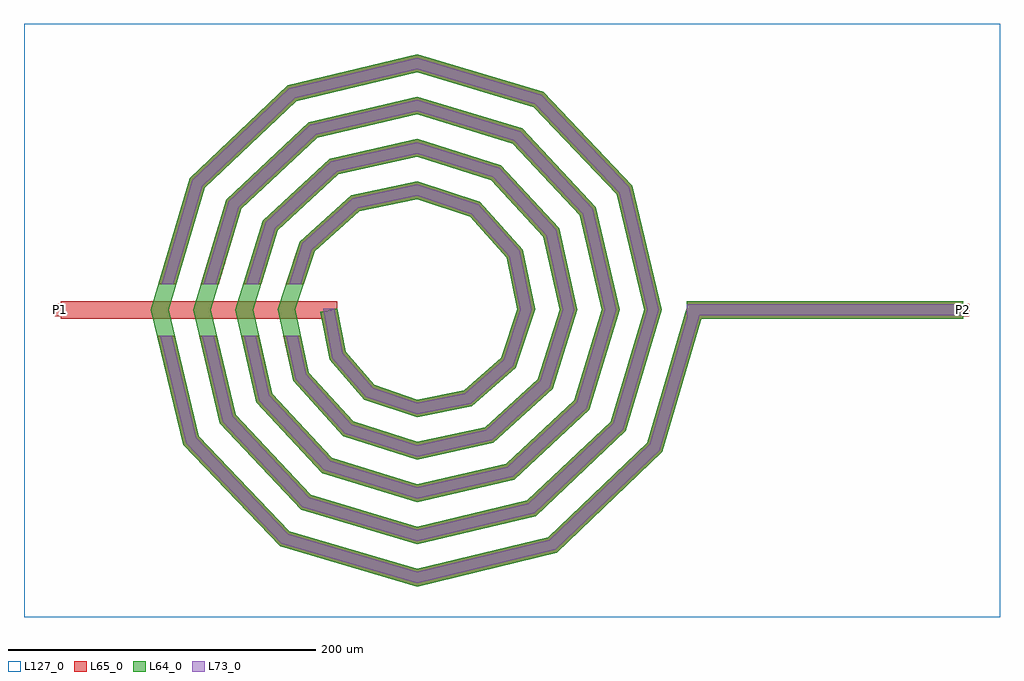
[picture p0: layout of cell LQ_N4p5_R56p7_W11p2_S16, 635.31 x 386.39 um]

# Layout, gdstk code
import gdstk
lib = gdstk.Library(unit=1e-6, precision=1e-09)
def R(c, l, rs):  # rectangles x0, y0, x1, y1
    for r in rs: c.add(gdstk.rectangle(r[:2], r[2:], *l))
def P(c, l, *ps):  # polygons
    for p in ps: c.add(gdstk.Polygon(p, *l))
L64_0 = (64, 0)
L65_0 = (65, 0)
L73_0 = (73, 0)
L127_0 = (127, 0)

lq_n4p5_r56p7_w11p2_s16 = lib.new_cell('LQ_N4p5_R56p7_W11p2_S16')
R(lq_n4p5_r56p7_w11p2_s16, L64_0, [(175.557,-5.6,355.557,5.6)])
P(lq_n4p5_r56p7_w11p2_s16, L64_0, [(-46.436,-27.289),(-27.729,-48.828),(0.386,-58.443),(30.69,-52.412),(54.763,-31.202),(65.319,0.348),(58.384,34.098),(34.668,60.701),(0.318,72.195),(-37.511,64.354),(-66.643,38.13),(-79.072,0.292),(-70.322,-40.929),(-41.589,-72.588),(0.27,-85.949),(44.349,-76.288),(78.534,-45.044),(92.827,0.251),(82.253,47.772),(48.498,84.481),(0.235,99.704),(-51.198,88.217),(-90.43,51.95),(-106.582,0.221),(-94.18,-54.624),(-55.4,-96.379),(0.208,-113.46),(58.053,-100.142),(102.33,-58.849),(120.337,0.197),(106.104,61.482),(62.297,108.281),(0.186,127.215),(-64.913,112.065),(-114.233,65.744),(-134.093,0.177),(-118.026,-68.344),(-69.19,-120.185),(0.169,-140.971),(71.776,-123.987),(126.137,-72.636),(147.849,0.161),(129.947,75.208),(76.081,132.09),(0.154,154.727),(-78.642,135.907),(-138.043,79.526),(-161.605,0.148),(-141.866,-82.075),(-82.97,-143.997),(0.142,-168.483),(85.509,-147.826),(149.951,-86.414),(175.784,1.578),(186.53,-1.578),(159.851,-92.45),(91.062,-158.005),(0.142,-180.075),(-89.016,-153.892),(-152.051,-87.618),(-173.197,0.148),(-147.932,85.582),(-84.174,146.098),(0.154,166.318),(82.148,141.972),(140.144,80.729),(159.44,0.161),(136.012,-78.716),(77.283,-134.191),(0.169,-152.562),(-75.283,-130.051),(-128.238,-73.837),(-145.683,0.177),(-124.09,71.851),(-70.39,122.286),(0.186,138.805),(68.42,118.128),(116.334,66.943),(131.927,0.197),(112.166,-64.99),(63.494,-110.383),(0.208,-125.048),(-61.561,-106.203),(-104.432,-60.044),(-118.17,0.221),(-100.24,58.134),(-56.593,98.482),(0.235,111.291),(54.707,94.275),(92.532,53.14),(104.413,0.251),(88.31,-51.283),(49.685,-86.584),(0.27,-97.534),(-47.86,-82.342),(-80.637,-46.228),(-90.655,0.292),(-76.373,44.441),(-42.767,74.692),(0.318,83.775),(41.025,70.402),(68.749,39.302),(76.896,0.348),(64.428,-37.613),(35.832,-62.808),(0.386,-70.016),(-34.207,-58.449),(-56.87,-32.355),(-62.852,-1.051),(-51.851,1.051)])
R(lq_n4p5_r56p7_w11p2_s16, L65_0, [(-231.751,-5.6,-51.751,5.6), (175.557,-5.6,355.557,5.6), (-235.751,-4,-227.751,4), (351.557,-4,359.557,4)])
P(lq_n4p5_r56p7_w11p2_s16, L65_0, [(-141.866,-82.075),(-82.97,-143.997),(0.142,-168.483),(85.509,-147.826),(149.951,-86.414),(175.784,1.578),(186.53,-1.578),(159.851,-92.45),(91.062,-158.005),(0.142,-180.075),(-89.016,-153.892),(-152.051,-87.618),(-169.113,-16.8),(-157.593,-16.8)],
  [(-118.026,-68.344),(-69.191,-120.185),(0.169,-140.971),(71.776,-123.987),(126.137,-72.636),(147.849,0.161),(129.947,75.208),(76.081,132.09),(0.155,154.727),(-78.642,135.907),(-138.043,79.526),(-156.593,16.8),(-168.272,16.8),(-147.932,85.582),(-84.174,146.098),(0.155,166.318),(82.149,141.972),(140.144,80.729),(159.44,0.161),(136.012,-78.716),(77.283,-134.191),(0.169,-152.562),(-75.283,-130.051),(-128.238,-73.837),(-141.682,-16.8),(-130.175,-16.8)],
  [(-94.18,-54.625),(-55.4,-96.38),(0.208,-113.46),(58.053,-100.142),(102.33,-58.849),(120.337,0.197),(106.104,61.482),(62.297,108.281),(0.186,127.215),(-64.913,112.065),(-114.233,65.744),(-128.978,16.8),(-140.676,16.8),(-124.09,71.851),(-70.39,122.286),(0.186,138.805),(68.42,118.128),(116.334,66.943),(131.927,0.197),(112.166,-64.99),(63.494,-110.383),(0.208,-125.048),(-61.561,-106.203),(-104.432,-60.044),(-114.29,-16.8),(-102.803,-16.8)],
  [(-70.322,-40.929),(-41.589,-72.588),(0.27,-85.949),(44.349,-76.288),(78.534,-45.044),(92.827,0.251),(82.253,47.772),(48.498,84.481),(0.235,99.704),(-51.198,88.217),(-90.43,51.95),(-101.312,16.8),(-113.037,16.8),(-100.24,58.134),(-56.593,98.482),(0.235,111.291),(54.707,94.275),(92.533,53.14),(104.413,0.251),(88.31,-51.283),(49.685,-86.584),(0.27,-97.534),(-47.86,-82.342),(-80.637,-46.228),(-86.974,-16.8),(-75.518,-16.8)],
  [(-27.729,-48.828),(0.386,-58.443),(30.69,-52.412),(54.763,-31.202),(65.319,0.348),(58.384,34.098),(34.668,60.702),(0.318,72.195),(-37.511,64.354),(-66.643,38.13),(-73.543,16.8),(-85.315,16.8),(-76.373,44.441),(-42.767,74.692),(0.318,83.776),(41.025,70.402),(68.749,39.302),(76.896,0.348),(64.428,-37.613),(35.832,-62.808),(0.386,-70.016),(-34.207,-58.449),(-56.87,-32.355),(-62.852,-1.051),(-51.851,1.051),(-46.436,-27.289)])
R(lq_n4p5_r56p7_w11p2_s16, L73_0, [(175.557,-3.6,355.557,3.6)])
P(lq_n4p5_r56p7_w11p2_s16, L73_0, [(-143.685,-83.065),(-84.05,-145.764),(0.092,-170.553),(86.501,-149.643),(151.719,-87.492),(177.703,1.014),(184.611,-1.014),(158.083,-91.372),(90.071,-156.187),(0.092,-178.005),(-87.936,-152.125),(-150.233,-86.628),(-167.056,-16.8),(-159.65,-16.8)],
  [(-119.85,-69.325),(-70.279,-121.947),(0.109,-143.041),(72.759,-125.809),(127.901,-73.722),(149.919,0.104),(131.768,76.194),(77.165,133.855),(0.099,156.797),(-79.63,137.726),(-139.809,80.607),(-158.678,16.8),(-166.187,16.8),(-146.166,84.501),(-83.186,144.278),(0.099,164.248),(81.065,140.207),(138.323,79.743),(157.37,0.104),(134.248,-77.63),(76.3,-132.369),(0.109,-150.492),(-74.195,-128.289),(-126.415,-72.856),(-139.627,-16.8),(-132.23,-16.8)],
  [(-96.011,-55.592),(-56.5,-98.134),(0.134,-115.529),(59.024,-101.971),(104.086,-59.946),(122.407,0.126),(107.931,62.457),(63.391,110.039),(0.12,129.285),(-65.891,113.891),(-115.993,66.835),(-131.067,16.8),(-138.587,16.8),(-122.33,70.761),(-69.412,120.461),(0.12,136.736),(67.327,116.37),(114.507,65.968),(129.857,0.126),(110.41,-63.894),(62.522,-108.554),(0.134,-122.979),(-60.461,-104.449),(-102.601,-59.076),(-112.239,-16.8),(-104.854,-16.8)],
  [(-72.164,-41.875),(-42.709,-74.33),(0.174,-88.018),(45.302,-78.127),(80.279,-46.158),(94.896,0.162),(84.089,48.731),(49.607,86.23),(0.151,101.773),(-52.161,90.05),(-92.182,53.054),(-103.406,16.8),(-110.943,16.8),(-98.488,57.029),(-55.629,96.649),(0.151,109.222),(53.598,92.526),(90.697,52.182),(102.344,0.162),(86.564,-50.169),(48.732,-84.746),(0.174,-95.465),(-46.74,-80.601),(-78.795,-45.281),(-84.928,-16.8),(-77.563,-16.8)],
  [(-28.886,-50.546),(0.248,-60.509),(31.608,-54.268),(56.489,-32.347),(67.386,0.224),(60.235,35.027),(35.803,62.434),(0.204,74.263),(-38.45,66.2),(-68.381,39.257),(-75.645,16.8),(-83.213,16.8),(-74.636,43.314),(-41.829,72.846),(0.204,81.708),(39.89,68.67),(66.898,38.373),(74.829,0.224),(62.702,-36.468),(34.914,-60.951),(0.248,-67.949),(-33.051,-56.731),(-55.007,-31.45),(-60.887,0.676),(-53.815,0.676),(-48.299,-28.194)])
R(lq_n4p5_r56p7_w11p2_s16, L127_0, [(-255.751,-200.075,379.557,186.318)])
lq_n4p5_r56p7_w11p2_s16.add(gdstk.Label('P2', (355.557,0), layer=65, texttype=0))
lq_n4p5_r56p7_w11p2_s16.add(gdstk.Label('P1', (-231.751,0), layer=65, texttype=0))
lq_n4p5_r56p7_w11p2_s16.add(gdstk.Label('P2', (359.557,0), layer=145, texttype=0))
lq_n4p5_r56p7_w11p2_s16.add(gdstk.Label('P1', (-235.751,0), layer=145, texttype=0))

lib.write_gds('LQ_N4p5_R56p7_W11p2_S16.gds')
